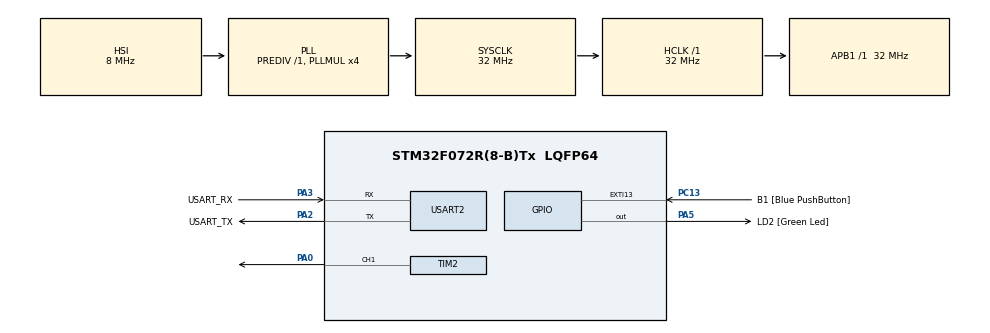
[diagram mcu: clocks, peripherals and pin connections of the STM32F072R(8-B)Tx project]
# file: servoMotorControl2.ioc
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Mcu.Family=STM32F0
Mcu.Name=STM32F072R(8-B)Tx
Mcu.Package=LQFP64
PA0.Signal=S_TIM2_CH1_ETR
PA13.GPIO_Label=TMS
PA13.Mode=Serial_Wire
PA13.Signal=SYS_SWDIO
PA14.GPIO_Label=TCK
PA14.Mode=Serial_Wire
PA14.Signal=SYS_SWCLK
PA2.GPIO_Label=USART_TX
PA2.GPIO_Mode=GPIO_MODE_AF_PP
PA2.GPIO_PuPd=GPIO_NOPULL
PA2.GPIO_Speed=GPIO_SPEED_FREQ_LOW
PA2.Mode=Asynchronous
PA2.Signal=USART2_TX
PA3.GPIO_Label=USART_RX
PA3.GPIO_Mode=GPIO_MODE_AF_PP
PA3.GPIO_PuPd=GPIO_NOPULL
PA3.GPIO_Speed=GPIO_SPEED_FREQ_LOW
PA3.Mode=Asynchronous
PA3.Signal=USART2_RX
PA5.GPIO_Label=LD2 [Green Led]
PA5.GPIO_Mode=GPIO_MODE_OUTPUT_PP
PA5.GPIO_PuPd=GPIO_NOPULL
PA5.GPIO_Speed=GPIO_SPEED_FREQ_LOW
PA5.Signal=GPIO_Output
PC13.GPIO_Label=B1 [Blue PushButton]
PC13.GPIO_ModeDefaultEXTI=GPIO_MODE_IT_FALLING
PC13.Signal=GPXTI13
PC14-OSC32_IN.Mode=LSE-External-Oscillator
PC14-OSC32_IN.Signal=RCC_OSC32_IN
PC15-OSC32_OUT.Mode=LSE-External-Oscillator
PC15-OSC32_OUT.Signal=RCC_OSC32_OUT
PF0-OSC_IN.Mode=HSE-External-Clock-Source
PF0-OSC_IN.Signal=RCC_OSC_IN
PF1-OSC_OUT.Signal=RCC_OSC_OUT
ProjectManager.HeapSize=0x200
ProjectManager.StackSize=0x400
ProjectManager.TargetToolchain=STM32CubeIDE
RCC.AHBFreq_Value=32000000
RCC.APB1Freq_Value=32000000
RCC.APB1TimFreq_Value=32000000
RCC.FLatency-AdvancedSettings=FLASH_LATENCY_1
RCC.HCLKFreq_Value=32000000
RCC.PLLMUL=RCC_PLL_MUL4
RCC.PREFETCH_ENABLE-AdvancedSettings=1
RCC.SYSCLKFreq_VALUE=32000000
RCC.SYSCLKSource=RCC_SYSCLKSOURCE_PLLCLK
SH.S_TIM2_CH1_ETR.0=TIM2_CH1,PWM Generation1 CH1
TIM2.Channel-PWM\ Generation1\ CH1=TIM_CHANNEL_1
TIM2.Period=1799
TIM2.Prescaler=355
USART2.VirtualMode=VM_ASYNC
USART2.VirtualMode-Asynchronous=VM_ASYNC
board=NUCLEO-F072RB

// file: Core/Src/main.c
/* USER CODE BEGIN Header */
/**
  ******************************************************************************
  * @file           : main.c
  * @brief          : Main program body
  ******************************************************************************
  * @attention
  *
  * Copyright (c) 2023 STMicroelectronics.
  * All rights reserved.
  *
  * This software is licensed under terms that can be found in the LICENSE file
  * in the root directory of this software component.
  * If no LICENSE file comes with this software, it is provided AS-IS.
  *
  ******************************************************************************
  */
/* USER CODE END Header */
#include "main.h"

TIM_HandleTypeDef htim2;

UART_HandleTypeDef huart2;

void SystemClock_Config(void);
static void MX_GPIO_Init(void);
static void MX_USART2_UART_Init(void);
static void MX_TIM2_Init(void);

/* USER CODE BEGIN 0 */
void Servo_Angle(int angle){
	if(angle<0)
		angle = 0;
	if(angle>=180)
		angle = 180;
	angle = angle + 45;

	__HAL_TIM_SET_COMPARE(&htim2,TIM_CHANNEL_1, angle);
}

/* USER CODE END 0 */

int main(void)
{

  /* MCU Configuration--------------------------------------------------------*/

  /* Reset of all peripherals, Initializes the Flash interface and the Systick. */
  HAL_Init();

  /* Configure the system clock */
  SystemClock_Config();

  /* Initialize all configured peripherals */
  MX_GPIO_Init();
  MX_USART2_UART_Init();
  MX_TIM2_Init();
  /* USER CODE BEGIN 2 */
  HAL_TIM_PWM_Start(&htim2, TIM_CHANNEL_1);

  /* USER CODE END 2 */

  /* Infinite loop */
  while (1)
  {

    /* USER CODE BEGIN 3 */
	  for(int i=0; i<=180; i++){
		  Servo_Angle(i);
		  HAL_Delay(10);
	  }
	  Servo_Angle(0);
	  HAL_Delay(1000);
	  Servo_Angle(180);
	  HAL_Delay(5000);
  }
  /* USER CODE END 3 */
}

void SystemClock_Config(void)
{
  RCC_OscInitTypeDef RCC_OscInitStruct = {0};
  RCC_ClkInitTypeDef RCC_ClkInitStruct = {0};
  RCC_PeriphCLKInitTypeDef PeriphClkInit = {0};

  /** Initializes the RCC Oscillators according to the specified parameters
  * in the RCC_OscInitTypeDef structure.
  */
  RCC_OscInitStruct.OscillatorType = RCC_OSCILLATORTYPE_HSI;
  RCC_OscInitStruct.HSIState = RCC_HSI_ON;
  RCC_OscInitStruct.HSICalibrationValue = RCC_HSICALIBRATION_DEFAULT;
  RCC_OscInitStruct.PLL.PLLState = RCC_PLL_ON;
  RCC_OscInitStruct.PLL.PLLSource = RCC_PLLSOURCE_HSI;
  RCC_OscInitStruct.PLL.PLLMUL = RCC_PLL_MUL4;
  RCC_OscInitStruct.PLL.PREDIV = RCC_PREDIV_DIV1;
  if (HAL_RCC_OscConfig(&RCC_OscInitStruct) != HAL_OK)
  {
    Error_Handler();
  }

  /** Initializes the CPU, AHB and APB buses clocks
  */
  RCC_ClkInitStruct.ClockType = RCC_CLOCKTYPE_HCLK|RCC_CLOCKTYPE_SYSCLK
                              |RCC_CLOCKTYPE_PCLK1;
  RCC_ClkInitStruct.SYSCLKSource = RCC_SYSCLKSOURCE_PLLCLK;
  RCC_ClkInitStruct.AHBCLKDivider = RCC_SYSCLK_DIV1;
  RCC_ClkInitStruct.APB1CLKDivider = RCC_HCLK_DIV1;

  if (HAL_RCC_ClockConfig(&RCC_ClkInitStruct, FLASH_LATENCY_1) != HAL_OK)
  {
    Error_Handler();
  }
  PeriphClkInit.PeriphClockSelection = RCC_PERIPHCLK_USART2;
  PeriphClkInit.Usart2ClockSelection = RCC_USART2CLKSOURCE_PCLK1;
  if (HAL_RCCEx_PeriphCLKConfig(&PeriphClkInit) != HAL_OK)
  {
    Error_Handler();
  }
}

static void MX_TIM2_Init(void)
{

  TIM_MasterConfigTypeDef sMasterConfig = {0};
  TIM_OC_InitTypeDef sConfigOC = {0};

  htim2.Instance = TIM2;
  htim2.Init.Prescaler = 355;
  htim2.Init.CounterMode = TIM_COUNTERMODE_UP;
  htim2.Init.Period = 1799;
  htim2.Init.ClockDivision = TIM_CLOCKDIVISION_DIV1;
  htim2.Init.AutoReloadPreload = TIM_AUTORELOAD_PRELOAD_DISABLE;
  if (HAL_TIM_PWM_Init(&htim2) != HAL_OK)
  {
    Error_Handler();
  }
  sMasterConfig.MasterOutputTrigger = TIM_TRGO_RESET;
  sMasterConfig.MasterSlaveMode = TIM_MASTERSLAVEMODE_DISABLE;
  if (HAL_TIMEx_MasterConfigSynchronization(&htim2, &sMasterConfig) != HAL_OK)
  {
    Error_Handler();
  }
  sConfigOC.OCMode = TIM_OCMODE_PWM1;
  sConfigOC.Pulse = 0;
  sConfigOC.OCPolarity = TIM_OCPOLARITY_HIGH;
  sConfigOC.OCFastMode = TIM_OCFAST_DISABLE;
  if (HAL_TIM_PWM_ConfigChannel(&htim2, &sConfigOC, TIM_CHANNEL_1) != HAL_OK)
  {
    Error_Handler();
  }
  HAL_TIM_MspPostInit(&htim2);

}

static void MX_USART2_UART_Init(void)
{

  huart2.Instance = USART2;
  huart2.Init.BaudRate = 38400;
  huart2.Init.WordLength = UART_WORDLENGTH_8B;
  huart2.Init.StopBits = UART_STOPBITS_1;
  huart2.Init.Parity = UART_PARITY_NONE;
  huart2.Init.Mode = UART_MODE_TX_RX;
  huart2.Init.HwFlowCtl = UART_HWCONTROL_NONE;
  huart2.Init.OverSampling = UART_OVERSAMPLING_16;
  huart2.Init.OneBitSampling = UART_ONE_BIT_SAMPLE_DISABLE;
  huart2.AdvancedInit.AdvFeatureInit = UART_ADVFEATURE_NO_INIT;
  if (HAL_UART_Init(&huart2) != HAL_OK)
  {
    Error_Handler();
  }

}

static void MX_GPIO_Init(void)
{
  GPIO_InitTypeDef GPIO_InitStruct = {0};

  /* GPIO Ports Clock Enable */
  __HAL_RCC_GPIOC_CLK_ENABLE();
  __HAL_RCC_GPIOF_CLK_ENABLE();
  __HAL_RCC_GPIOA_CLK_ENABLE();

  /*Configure GPIO pin Output Level */
  HAL_GPIO_WritePin(GPIOA, GPIO_PIN_5, GPIO_PIN_RESET);

  /*Configure GPIO pin : PC13 */
  GPIO_InitStruct.Pin = GPIO_PIN_13;
  GPIO_InitStruct.Mode = GPIO_MODE_IT_FALLING;
  GPIO_InitStruct.Pull = GPIO_NOPULL;
  HAL_GPIO_Init(GPIOC, &GPIO_InitStruct);

  /*Configure GPIO pin : PA5 */
  GPIO_InitStruct.Pin = GPIO_PIN_5;
  GPIO_InitStruct.Mode = GPIO_MODE_OUTPUT_PP;
  GPIO_InitStruct.Pull = GPIO_NOPULL;
  GPIO_InitStruct.Speed = GPIO_SPEED_FREQ_LOW;
  HAL_GPIO_Init(GPIOA, &GPIO_InitStruct);

}

void Error_Handler(void)
{
  __disable_irq();
  while (1)
  {
  }
}
